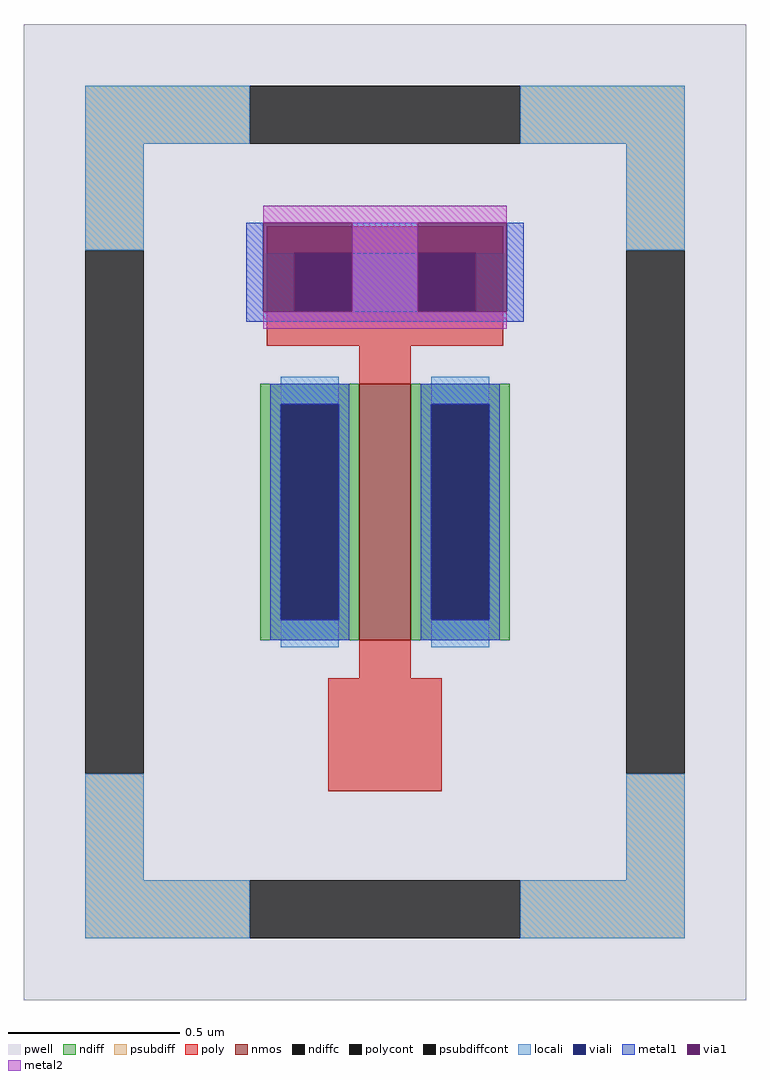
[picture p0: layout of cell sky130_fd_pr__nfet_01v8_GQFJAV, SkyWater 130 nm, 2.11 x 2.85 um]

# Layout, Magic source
magic
tech sky130A
magscale 1 2
<< pwell >>
rect -211 -285 211 285
<< nmos >>
rect -15 -75 15 75
<< ndiff >>
rect -73 63 -15 75
rect -73 -63 -61 63
rect -27 -63 -15 63
rect -73 -75 -15 -63
rect 15 63 73 75
rect 15 -63 27 63
rect 61 -63 73 63
rect 15 -75 73 -63
<< ndiffc >>
rect -61 -63 -27 63
rect 27 -63 61 63
<< psubdiff >>
rect -175 215 -79 249
rect 79 215 175 249
rect -175 153 -141 215
rect 141 153 175 215
rect -175 -215 -141 -153
rect 141 -215 175 -153
rect -175 -249 -79 -215
rect 79 -249 175 -215
<< psubdiffcont >>
rect -79 215 79 249
rect -175 -153 -141 153
rect 141 -153 175 153
rect -79 -249 79 -215
<< poly >>
rect -69 151 69 167
rect -69 117 -53 151
rect -19 117 19 151
rect 53 117 69 151
rect -69 97 69 117
rect -15 75 15 97
rect -15 -97 15 -75
rect -33 -163 33 -97
<< polycont >>
rect -53 117 -19 151
rect 19 117 53 151
<< locali >>
rect -175 215 -79 249
rect 79 215 175 249
rect -175 153 -141 215
rect 141 153 175 215
rect -69 117 -53 151
rect -19 117 19 151
rect 53 117 69 151
rect -61 63 -27 79
rect -61 -79 -27 -63
rect 27 63 61 79
rect 27 -79 61 -63
rect -175 -215 -141 -153
rect 141 -215 175 -153
rect -175 -249 -79 -215
rect 79 -249 175 -215
<< viali >>
rect -53 117 -19 151
rect 19 117 53 151
rect -61 -63 -27 63
rect 27 -63 61 63
<< metal1 >>
rect -81 117 -71 169
rect -19 117 19 169
rect 71 117 81 169
rect -81 111 81 117
rect -67 63 -21 75
rect -67 -63 -61 63
rect -27 -63 -21 63
rect -67 -75 -21 -63
rect 21 63 67 75
rect 21 -63 27 63
rect 61 -63 67 63
rect 21 -75 67 -63
<< via1 >>
rect -71 151 -19 169
rect -71 117 -53 151
rect -53 117 -19 151
rect 19 151 71 169
rect 19 117 53 151
rect 53 117 71 151
<< metal2 >>
rect -71 169 71 179
rect -19 117 19 169
rect -71 107 71 117
<< properties >>
string FIXED_BBOX -158 -232 158 232
string gencell sky130_fd_pr__nfet_01v8
string library sky130
string parameters w .75 l 0.150 m 1 nf 1 diffcov 100 polycov 100 guard 1 glc 1 grc 1 gtc 1 gbc 1 tbcov 100 rlcov 100 topc 1 botc 1 poverlap 0 doverlap 1 lmin 0.15 wmin 0.42 compatible {sky130_fd_pr__nfet_01v8 sky130_fd_pr__nfet_01v8_lvt  sky130_fd_bs_flash__special_sonosfet_star  sky130_fd_pr__nfet_g5v0d10v5 sky130_fd_pr__nfet_05v0_nvt} full_metal 1 viasrc 100 viadrn 100 viagate 100 viagb 0 viagr 0 viagl 0 viagt 0
<< end >>
